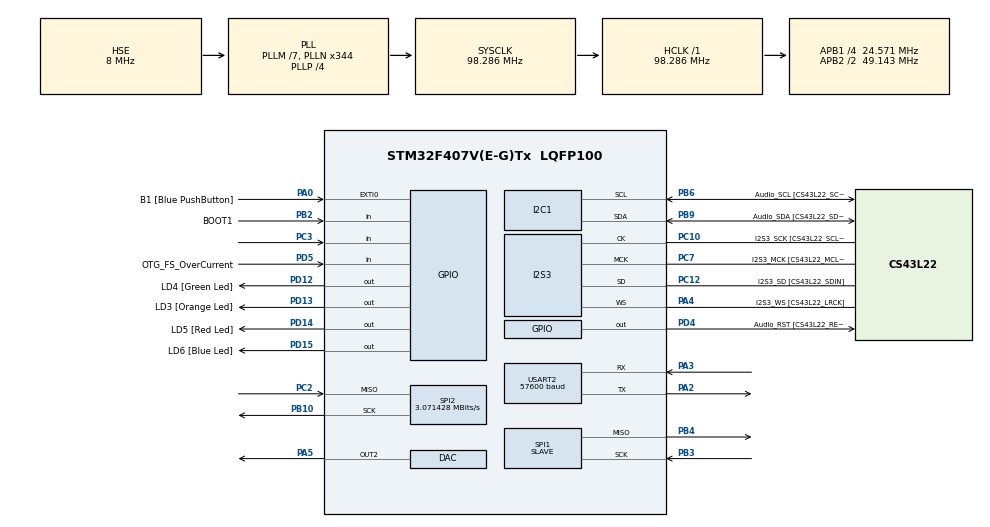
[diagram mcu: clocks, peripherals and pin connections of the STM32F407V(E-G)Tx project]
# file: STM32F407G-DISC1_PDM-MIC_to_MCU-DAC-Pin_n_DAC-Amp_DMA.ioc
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DAC.DAC_Trigger2=DAC_TRIGGER_T2_TRGO
Dma.DAC2.1.Direction=DMA_MEMORY_TO_PERIPH
Dma.DAC2.1.FIFOMode=DMA_FIFOMODE_DISABLE
Dma.DAC2.1.Instance=DMA1_Stream6
Dma.DAC2.1.MemDataAlignment=DMA_MDATAALIGN_HALFWORD
Dma.DAC2.1.MemInc=DMA_MINC_ENABLE
Dma.DAC2.1.Mode=DMA_CIRCULAR
Dma.DAC2.1.PeriphDataAlignment=DMA_PDATAALIGN_HALFWORD
Dma.DAC2.1.PeriphInc=DMA_PINC_DISABLE
Dma.DAC2.1.Priority=DMA_PRIORITY_MEDIUM
Dma.Request0=SPI3_TX
Dma.Request1=DAC2
Dma.Request2=SPI1_TX
Dma.Request3=SPI2_RX
Dma.SPI1_TX.2.Direction=DMA_MEMORY_TO_PERIPH
Dma.SPI1_TX.2.FIFOMode=DMA_FIFOMODE_DISABLE
Dma.SPI1_TX.2.Instance=DMA2_Stream3
Dma.SPI1_TX.2.MemDataAlignment=DMA_MDATAALIGN_BYTE
Dma.SPI1_TX.2.MemInc=DMA_MINC_ENABLE
Dma.SPI1_TX.2.Mode=DMA_CIRCULAR
Dma.SPI1_TX.2.PeriphDataAlignment=DMA_PDATAALIGN_BYTE
Dma.SPI1_TX.2.PeriphInc=DMA_PINC_DISABLE
Dma.SPI1_TX.2.Priority=DMA_PRIORITY_LOW
Dma.SPI2_RX.3.Direction=DMA_PERIPH_TO_MEMORY
Dma.SPI2_RX.3.FIFOMode=DMA_FIFOMODE_DISABLE
Dma.SPI2_RX.3.Instance=DMA1_Stream3
Dma.SPI2_RX.3.MemDataAlignment=DMA_MDATAALIGN_BYTE
Dma.SPI2_RX.3.MemInc=DMA_MINC_ENABLE
Dma.SPI2_RX.3.Mode=DMA_CIRCULAR
Dma.SPI2_RX.3.PeriphDataAlignment=DMA_PDATAALIGN_BYTE
Dma.SPI2_RX.3.PeriphInc=DMA_PINC_DISABLE
Dma.SPI2_RX.3.Priority=DMA_PRIORITY_MEDIUM
Dma.SPI3_TX.0.Direction=DMA_MEMORY_TO_PERIPH
Dma.SPI3_TX.0.FIFOMode=DMA_FIFOMODE_DISABLE
Dma.SPI3_TX.0.Instance=DMA1_Stream5
Dma.SPI3_TX.0.MemDataAlignment=DMA_MDATAALIGN_HALFWORD
Dma.SPI3_TX.0.MemInc=DMA_MINC_ENABLE
Dma.SPI3_TX.0.Mode=DMA_CIRCULAR
Dma.SPI3_TX.0.PeriphDataAlignment=DMA_PDATAALIGN_HALFWORD
Dma.SPI3_TX.0.PeriphInc=DMA_PINC_DISABLE
Dma.SPI3_TX.0.Priority=DMA_PRIORITY_LOW
I2S3.AudioFreq=I2S_AUDIOFREQ_48K
I2S3.AudioFreq-Half_Duplex_Master=I2S_AUDIOFREQ_96K
I2S3.ErrorAudioFreq=-0.01 %
I2S3.ErrorAudioFreq-Half_Duplex_Master=0.8 %
I2S3.FullDuplexMode=I2S_FULLDUPLEXMODE_DISABLE
I2S3.Instance=SPI$Index
I2S3.RealAudioFreq=47.991 KHz
I2S3.RealAudioFreq-Half_Duplex_Master=96.774 KHz
I2S3.VirtualMode=I2S_MODE_MASTER
Mcu.Family=STM32F4
Mcu.Name=STM32F407V(E-G)Tx
Mcu.Package=LQFP100
NVIC.DMA1_Stream3_IRQn=true\:0\:0\:false\:false\:true\:false\:true\:true
NVIC.DMA1_Stream5_IRQn=true\:0\:0\:false\:false\:true\:false\:true\:true
NVIC.DMA1_Stream6_IRQn=true\:0\:0\:false\:false\:true\:false\:true\:true
NVIC.DMA2_Stream3_IRQn=true\:0\:0\:false\:false\:true\:false\:true\:true
NVIC.PriorityGroup=NVIC_PRIORITYGROUP_0
PA0-WKUP.GPIO_Label=B1 [Blue PushButton]
PA0-WKUP.GPIO_ModeDefaultEXTI=GPIO_MODE_EVT_RISING
PA0-WKUP.GPIO_PuPd=GPIO_NOPULL
PA0-WKUP.Signal=GPXTI0
PA13.GPIO_Label=SWDIO
PA13.Signal=SYS_JTMS-SWDIO
PA14.GPIO_Label=SWCLK
PA14.Signal=SYS_JTCK-SWCLK
PA2.GPIO_Speed=GPIO_SPEED_FREQ_LOW
PA2.Mode=Asynchronous
PA2.Signal=USART2_TX
PA3.GPIO_Speed=GPIO_SPEED_FREQ_LOW
PA3.Mode=Asynchronous
PA3.Signal=USART2_RX
PA4.GPIO_Label=I2S3_WS [CS43L22_LRCK]
PA4.GPIO_Mode=GPIO_MODE_AF_PP
PA4.GPIO_PuPd=GPIO_NOPULL
PA4.GPIO_Speed=GPIO_SPEED_FREQ_LOW
PA4.Mode=Half_Duplex_Master
PA4.Signal=I2S3_WS
PA5.Signal=COMP_DAC2_group
PB10.GPIO_Speed=GPIO_SPEED_FREQ_LOW
PB10.Mode=RX_Only_Simplex_Unidirect_Master
PB10.Signal=SPI2_SCK
PB2.GPIO_Label=BOOT1
PB2.GPIO_Mode=GPIO_MODE_INPUT
PB2.GPIO_PuPd=GPIO_NOPULL
PB2.Signal=GPIO_Input
PB3.GPIO_Speed=GPIO_SPEED_FREQ_LOW
PB3.Mode=TX_Only_Simplex_Unidirect_Slave
PB3.Signal=SPI1_SCK
PB4.GPIO_Speed=GPIO_SPEED_FREQ_LOW
PB4.Mode=TX_Only_Simplex_Unidirect_Slave
PB4.Signal=SPI1_MISO
PB6.GPIO_Label=Audio_SCL [CS43L22_SCL]
PB6.GPIO_Mode=GPIO_MODE_AF_OD
PB6.GPIO_Pu=GPIO_PULLUP
PB6.GPIO_PuPd=GPIO_NOPULL
PB6.GPIO_Speed=GPIO_SPEED_FREQ_LOW
PB6.Mode=I2C
PB6.Signal=I2C1_SCL
PB9.GPIO_Label=Audio_SDA [CS43L22_SDA]
PB9.GPIO_Mode=GPIO_MODE_AF_OD
PB9.GPIO_Pu=GPIO_PULLUP
PB9.GPIO_PuPd=GPIO_NOPULL
PB9.GPIO_Speed=GPIO_SPEED_FREQ_LOW
PB9.Mode=I2C
PB9.Signal=I2C1_SDA
PC10.GPIO_Label=I2S3_SCK [CS43L22_SCLK]
PC10.GPIO_Mode=GPIO_MODE_AF_PP
PC10.GPIO_PuPd=GPIO_NOPULL
PC10.GPIO_Speed=GPIO_SPEED_FREQ_LOW
PC10.Mode=Half_Duplex_Master
PC10.Signal=I2S3_CK
PC12.GPIO_Label=I2S3_SD [CS43L22_SDIN]
PC12.GPIO_Mode=GPIO_MODE_AF_PP
PC12.GPIO_PuPd=GPIO_NOPULL
PC12.GPIO_Speed=GPIO_SPEED_FREQ_LOW
PC12.Mode=Half_Duplex_Master
PC12.Signal=I2S3_SD
PC14-OSC32_IN.GPIO_Label=PC14-OSC32_IN
PC14-OSC32_IN.Mode=LSE-External-Oscillator
PC14-OSC32_IN.Signal=RCC_OSC32_IN
PC15-OSC32_OUT.GPIO_Label=PC15-OSC32_OUT
PC15-OSC32_OUT.Mode=LSE-External-Oscillator
PC15-OSC32_OUT.Signal=RCC_OSC32_OUT
PC2.GPIO_Speed=GPIO_SPEED_FREQ_LOW
PC2.Mode=RX_Only_Simplex_Unidirect_Master
PC2.Signal=SPI2_MISO
PC3.Signal=GPIO_Input
PC7.GPIO_Label=I2S3_MCK [CS43L22_MCLK]
PC7.GPIO_Mode=GPIO_MODE_AF_PP
PC7.GPIO_PuPd=GPIO_NOPULL
PC7.GPIO_Speed=GPIO_SPEED_FREQ_LOW
PC7.Mode=Master_Clock_Activated
PC7.Signal=I2S3_MCK
PD12.GPIO_Label=LD4 [Green Led]
PD12.GPIO_PuPd=GPIO_NOPULL
PD12.GPIO_Speed=GPIO_SPEED_FREQ_LOW
PD12.Signal=GPIO_Output
PD13.GPIO_Label=LD3 [Orange Led]
PD13.GPIO_PuPd=GPIO_NOPULL
PD13.GPIO_Speed=GPIO_SPEED_FREQ_LOW
PD13.Signal=GPIO_Output
PD14.GPIO_Label=LD5 [Red Led]
PD14.GPIO_PuPd=GPIO_NOPULL
PD14.GPIO_Speed=GPIO_SPEED_FREQ_LOW
PD14.Signal=GPIO_Output
PD15.GPIO_Label=LD6 [Blue Led]
PD15.GPIO_PuPd=GPIO_NOPULL
PD15.GPIO_Speed=GPIO_SPEED_FREQ_LOW
PD15.Signal=GPIO_Output
PD4.GPIO_Label=Audio_RST [CS43L22_RESET]
PD4.GPIO_PuPd=GPIO_NOPULL
PD4.GPIO_Speed=GPIO_SPEED_FREQ_LOW
PD4.Signal=GPIO_Output
PD5.GPIO_Label=OTG_FS_OverCurrent
PD5.GPIO_Mode=GPIO_MODE_INPUT
PD5.GPIO_PuPd=GPIO_NOPULL
PD5.Signal=GPIO_Input
PDM2PCM.CHANNEL1_in_ptr_channels=1
PDM2PCM.CHANNEL1_out_ptr_channels=1
PDM2PCM.CHANNEL1_output_samples_number=1
PH0-OSC_IN.GPIO_Label=PH0-OSC_IN
PH0-OSC_IN.Mode=HSE-External-Oscillator
PH0-OSC_IN.Signal=RCC_OSC_IN
PH1-OSC_OUT.GPIO_Label=PH1-OSC_OUT
PH1-OSC_OUT.Mode=HSE-External-Oscillator
PH1-OSC_OUT.Signal=RCC_OSC_OUT
ProjectManager.HeapSize=0x200
ProjectManager.StackSize=0x400
ProjectManager.TargetToolchain=STM32CubeIDE
RCC.48MHZClocksFreq_Value=56163265.30612246
RCC.AHBFreq_Value=98285714.2857143
RCC.APB1CLKDivider=RCC_HCLK_DIV4
RCC.APB1Freq_Value=24571428.571428575
RCC.APB1TimFreq_Value=49142857.14285715
RCC.APB2CLKDivider=RCC_HCLK_DIV2
RCC.APB2Freq_Value=49142857.14285715
RCC.APB2TimFreq_Value=98285714.2857143
RCC.CortexFreq_Value=98285714.2857143
RCC.HCLKFreq_Value=98285714.2857143
RCC.HSE_VALUE=8000000
RCC.HSI_VALUE=16000000
RCC.PLLI2SN=344
RCC.PLLI2SR=4
RCC.PLLM=7
RCC.PLLN=344
RCC.PLLP=RCC_PLLP_DIV4
RCC.PLLQ=7
RCC.PLLSourceVirtual=RCC_PLLSOURCE_HSE
RCC.SYSCLKFreq_VALUE=98285714.2857143
RCC.SYSCLKSource=RCC_SYSCLKSOURCE_PLLCLK
RCC.VCOOutputFreq_Value=393142857.1428572
SH.COMP_DAC2_group.0=DAC_OUT2,DAC_OUT2
SPI1.Direction=SPI_DIRECTION_2LINES
SPI1.Mode=SPI_MODE_SLAVE
SPI1.VirtualType=VM_SLAVE
SPI2.BaudRatePrescaler=SPI_BAUDRATEPRESCALER_8
SPI2.CalculateBaudRate=3.071428 MBits/s
SPI2.Direction=SPI_DIRECTION_2LINES_RXONLY
SPI2.Mode=SPI_MODE_MASTER
SPI2.VirtualType=VM_MASTER
TIM2.AutoReloadPreload=TIM_AUTORELOAD_PRELOAD_ENABLE
TIM2.Period=64-1
TIM2.Prescaler=16-1
TIM2.TIM_MasterOutputTrigger=TIM_TRGO_UPDATE
USART2.BaudRate=57600
USART2.VirtualMode=VM_ASYNC
VP_CRC_VS_CRC.Mode=CRC_Activate
VP_PDM2PCM_VS_PDM2PCM.Mode=PDM2PCM_Channel
VP_TIM2_VS_ClockSourceINT.Mode=Internal
board=STM32F407G-DISC1

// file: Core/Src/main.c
/* USER CODE BEGIN Header */
/**
 ******************************************************************************
 * @file           : main.c
 * @brief          : Main program body
 ******************************************************************************
 * @attention
 *
 * Copyright (c) 2021 STMicroelectronics.
 * All rights reserved.
 *
 * This software is licensed under terms that can be found in the LICENSE file
 * in the root directory of this software component.
 * If no LICENSE file comes with this software, it is provided AS-IS.
 *
 ******************************************************************************
 */
/* USER CODE END Header */
#include "main.h"
#include "pdm2pcm.h"

/* USER CODE BEGIN Includes */

#include <stdio.h>
#include "MY_CS43L22.h"
#include <math.h>
#include "pdm_tones.h"

/* USER CODE END Includes */

 CRC_HandleTypeDef hcrc;

DAC_HandleTypeDef hdac;
DMA_HandleTypeDef hdma_dac2;

I2C_HandleTypeDef hi2c1;

I2S_HandleTypeDef hi2s3;
DMA_HandleTypeDef hdma_spi3_tx;

SPI_HandleTypeDef hspi1;
SPI_HandleTypeDef hspi2;
DMA_HandleTypeDef hdma_spi1_tx;
DMA_HandleTypeDef hdma_spi2_rx;

TIM_HandleTypeDef htim2;

UART_HandleTypeDef huart2;

/* USER CODE BEGIN PV */

uint8_t SPI_PDM_rx_data[80], SPI_PDM_rx_data_400[400], SPI_PDM_rx_data_2k[2000], SPI_PDM_rx_data_4k[4000], SPI_PDM_tx_data_4k[4000];

int16_t PCM_outBuffer[500], PCM_DAC_AMP_outBuffer[10];
uint16_t PCM_DAC_outBuffer[500];

#define PI 3.14159f

//Sample rate and Output freq
#define F_SAMPLE		48000.0f
#define F_OUT			2000.0f

float mySinVal;
float sample_dt;
uint16_t sample_N;
uint16_t i_t;

uint32_t myDacVal;

int16_t dataI2S[100];

/* USER CODE END PV */

void SystemClock_Config(void);
static void MX_GPIO_Init(void);
static void MX_I2C1_Init(void);
static void MX_DMA_Init(void);
static void MX_I2S3_Init(void);
static void MX_USART2_UART_Init(void);
static void MX_DAC_Init(void);
static void MX_SPI1_Init(void);
static void MX_TIM2_Init(void);
static void MX_SPI2_Init(void);
static void MX_CRC_Init(void);
/* USER CODE BEGIN PFP */

#define PUTCHAR_PROTOTYPE int __io_putchar(int ch)

/* USER CODE END PFP */

/* USER CODE BEGIN 0 */

//float mySinVal;
//float sample_dt;
//uint16_t sample_N;
//uint16_t i_t;
//
//uint32_t myDacVal;
//
//int16_t dataI2S[100];
/* USER CODE END 0 */

int main(void)
{
  /* USER CODE BEGIN 1 */

	sample_dt = F_OUT/F_SAMPLE;
	sample_N = F_SAMPLE/F_OUT;

  /* USER CODE END 1 */

  /* MCU Configuration--------------------------------------------------------*/

  /* Reset of all peripherals, Initializes the Flash interface and the Systick. */
  HAL_Init();

  /* Configure the system clock */
  SystemClock_Config();

  /* Initialize all configured peripherals */
  MX_GPIO_Init();
  MX_I2C1_Init();
  MX_DMA_Init();
  MX_I2S3_Init();
  MX_USART2_UART_Init();
  MX_DAC_Init();
  MX_SPI1_Init();
  MX_TIM2_Init();
  MX_SPI2_Init();
  MX_CRC_Init();
  MX_PDM2PCM_Init();
  /* USER CODE BEGIN 2 */

	printf("Starting >> STM32F407G-DISC1_I2S_CS43L22_48k_SPI-Continous-PDM-data_to_MCU-DAC-Pin_DAC-Amp_DMA \n");

	CS43_Init(hi2c1, MODE_I2S);
	CS43_SetVolume(100); //0 - 100,, 40
	CS43_Enable_RightLeft(CS43_RIGHT_LEFT);
	CS43_Start();

	//Build Sine wave
	printf("Sine wave using (int) ((mySinVal) * 8000) & sample_N = 48kHz sampling rate\n");
	for(uint16_t i = 0; i < sample_N ; i++)
	{
		mySinVal = sinf(i*2*PI*sample_dt);
		dataI2S[i*2] = (mySinVal) * 8000;    //Right data (0 2 4 6 8 10 12 ... )
		dataI2S[i*2 + 1] = (mySinVal) * 8000; //Left data  (1 3 5 7 9 11 13 ... )
		printf("%d %d\n", i, (int)((mySinVal) * 8000) );
	}

//	HAL_I2S_Transmit_DMA(&hi2s3, (uint16_t *)dataI2S, sample_N*2);

	// first bit to MSB - 8bit tone "AA"
	for (uint16_t i = 0; i < sizeof(tone500HzA4_pdmdata) * 4; i++) {
		pdmBuffer8_8000bits_1000bytes_1[i >> 3] = 0xAA;
		//		printf("i = %d,  i >>3 = %d, i mod sizeof(tone500HzA4_pdmdata) = %d \n",i, i >>3, i % sizeof(tone500HzA4_pdmdata));
	}

	// first bit to MSB - 8bit tone500Hz_pdmdata
	for (uint16_t i = 0; i < sizeof(tone500Hz_pdmdata) * 4; i++) {
		pdmBuffer8_8000bits_1000bytes_2[i >> 3] = (pdmBuffer8_8000bits_1000bytes_2[i >> 3] << 1) + tone500Hz_pdmdata[i % sizeof(tone500Hz_pdmdata)];
		//		printf("i = %d,  i >>3 = %d, i mod sizeof(tone500Hz_pdmdata) = %d \n",i, i >>3, i % sizeof(tone500Hz_pdmdata));
	}

	// first bit to MSB - 8bit tone500HzA4_pdmdata
	for (uint16_t i = 0; i < sizeof(tone500HzA4_pdmdata) * 4; i++) {
		pdmBuffer8_8000bits_1000bytes_3[i >> 3] = (pdmBuffer8_8000bits_1000bytes_3[i >> 3] << 1) + tone500HzA4_pdmdata[i % sizeof(tone500HzA4_pdmdata)];
		//		printf("i = %d,  i >>3 = %d, i mod sizeof(tone500HzA4_pdmdata) = %d \n",i, i >>3, i % sizeof(tone500HzA4_pdmdata));
	}

	for (uint16_t i = 0; i < 1000; i++) {
		pdmBuffer8_8000bits_4000bytes[i] = pdmBuffer8_8000bits_1000bytes_1[i]; // 0xAA data
	}

	for (uint16_t i = 0; i < 1000; i++) {
		pdmBuffer8_8000bits_4000bytes[i + 1000] = pdmBuffer8_8000bits_1000bytes_2[i]; // tone500Hz_pdmdata
	}

	for (uint16_t i = 0; i < 1000; i++) {
		pdmBuffer8_8000bits_4000bytes[i + 2000] = pdmBuffer8_8000bits_1000bytes_1[i]; // 0xAA data
	}

	for (uint16_t i = 0; i < 1000; i++) {
		pdmBuffer8_8000bits_4000bytes[i + 3000] = pdmBuffer8_8000bits_1000bytes_3[i]; // tone500HzA4_pdmdata
	}

	for (uint16_t i = 0; i < 4000; i++) {
		SPI_PDM_rx_data_4k[i] = pdmBuffer8_8000bits_4000bytes[i]; // tone500HzA4_pdmdata
	}

	HAL_DAC_Start_DMA(&hdac, DAC_CHANNEL_2, (uint32_t*) PCM_DAC_outBuffer, 1, DAC_ALIGN_12B_R); // 4000bytes x 8bit/bytes = 32,000 bit / 64 decimate = 500 int of data

	HAL_SPI_Transmit_DMA(&hspi1, SPI_PDM_rx_data_4k, 4000);

	HAL_SPI_Receive_DMA(&hspi2, SPI_PDM_rx_data, 8);

	HAL_I2S_Transmit_DMA(&hi2s3, (uint16_t *) PCM_DAC_AMP_outBuffer, 2);

	HAL_TIM_Base_Start(&htim2); //Start the timer

	printf("Ending   >> STM32F407G-DISC1_I2S_CS43L22_48k_SPI-Continous-PDM-data_to_MCU-DAC-Pin_DAC-Amp_DMA \n");

  /* USER CODE END 2 */

  /* Infinite loop */
	while (1) {

	}
}

void SystemClock_Config(void)
{
  RCC_OscInitTypeDef RCC_OscInitStruct = {0};
  RCC_ClkInitTypeDef RCC_ClkInitStruct = {0};

  /** Configure the main internal regulator output voltage
  */
  __HAL_RCC_PWR_CLK_ENABLE();
  __HAL_PWR_VOLTAGESCALING_CONFIG(PWR_REGULATOR_VOLTAGE_SCALE1);

  /** Initializes the RCC Oscillators according to the specified parameters
  * in the RCC_OscInitTypeDef structure.
  */
  RCC_OscInitStruct.OscillatorType = RCC_OSCILLATORTYPE_HSE;
  RCC_OscInitStruct.HSEState = RCC_HSE_ON;
  RCC_OscInitStruct.PLL.PLLState = RCC_PLL_ON;
  RCC_OscInitStruct.PLL.PLLSource = RCC_PLLSOURCE_HSE;
  RCC_OscInitStruct.PLL.PLLM = 7;
  RCC_OscInitStruct.PLL.PLLN = 344;
  RCC_OscInitStruct.PLL.PLLP = RCC_PLLP_DIV4;
  RCC_OscInitStruct.PLL.PLLQ = 7;
  if (HAL_RCC_OscConfig(&RCC_OscInitStruct) != HAL_OK)
  {
    Error_Handler();
  }

  /** Initializes the CPU, AHB and APB buses clocks
  */
  RCC_ClkInitStruct.ClockType = RCC_CLOCKTYPE_HCLK|RCC_CLOCKTYPE_SYSCLK
                              |RCC_CLOCKTYPE_PCLK1|RCC_CLOCKTYPE_PCLK2;
  RCC_ClkInitStruct.SYSCLKSource = RCC_SYSCLKSOURCE_PLLCLK;
  RCC_ClkInitStruct.AHBCLKDivider = RCC_SYSCLK_DIV1;
  RCC_ClkInitStruct.APB1CLKDivider = RCC_HCLK_DIV4;
  RCC_ClkInitStruct.APB2CLKDivider = RCC_HCLK_DIV2;

  if (HAL_RCC_ClockConfig(&RCC_ClkInitStruct, FLASH_LATENCY_3) != HAL_OK)
  {
    Error_Handler();
  }
}

static void MX_CRC_Init(void)
{

  hcrc.Instance = CRC;
  if (HAL_CRC_Init(&hcrc) != HAL_OK)
  {
    Error_Handler();
  }
  __HAL_CRC_DR_RESET(&hcrc);

}

static void MX_DAC_Init(void)
{

  DAC_ChannelConfTypeDef sConfig = {0};

  /** DAC Initialization
  */
  hdac.Instance = DAC;
  if (HAL_DAC_Init(&hdac) != HAL_OK)
  {
    Error_Handler();
  }

  /** DAC channel OUT2 config
  */
  sConfig.DAC_Trigger = DAC_TRIGGER_T2_TRGO;
  sConfig.DAC_OutputBuffer = DAC_OUTPUTBUFFER_ENABLE;
  if (HAL_DAC_ConfigChannel(&hdac, &sConfig, DAC_CHANNEL_2) != HAL_OK)
  {
    Error_Handler();
  }

}

static void MX_I2C1_Init(void)
{

  hi2c1.Instance = I2C1;
  hi2c1.Init.ClockSpeed = 100000;
  hi2c1.Init.DutyCycle = I2C_DUTYCYCLE_2;
  hi2c1.Init.OwnAddress1 = 0;
  hi2c1.Init.AddressingMode = I2C_ADDRESSINGMODE_7BIT;
  hi2c1.Init.DualAddressMode = I2C_DUALADDRESS_DISABLE;
  hi2c1.Init.OwnAddress2 = 0;
  hi2c1.Init.GeneralCallMode = I2C_GENERALCALL_DISABLE;
  hi2c1.Init.NoStretchMode = I2C_NOSTRETCH_DISABLE;
  if (HAL_I2C_Init(&hi2c1) != HAL_OK)
  {
    Error_Handler();
  }

}

static void MX_I2S3_Init(void)
{

  hi2s3.Instance = SPI3;
  hi2s3.Init.Mode = I2S_MODE_MASTER_TX;
  hi2s3.Init.Standard = I2S_STANDARD_PHILIPS;
  hi2s3.Init.DataFormat = I2S_DATAFORMAT_16B;
  hi2s3.Init.MCLKOutput = I2S_MCLKOUTPUT_ENABLE;
  hi2s3.Init.AudioFreq = I2S_AUDIOFREQ_48K;
  hi2s3.Init.CPOL = I2S_CPOL_LOW;
  hi2s3.Init.ClockSource = I2S_CLOCK_PLL;
  hi2s3.Init.FullDuplexMode = I2S_FULLDUPLEXMODE_DISABLE;
  if (HAL_I2S_Init(&hi2s3) != HAL_OK)
  {
    Error_Handler();
  }

}

static void MX_SPI1_Init(void)
{

  /* SPI1 parameter configuration*/
  hspi1.Instance = SPI1;
  hspi1.Init.Mode = SPI_MODE_SLAVE;
  hspi1.Init.Direction = SPI_DIRECTION_2LINES;
  hspi1.Init.DataSize = SPI_DATASIZE_8BIT;
  hspi1.Init.CLKPolarity = SPI_POLARITY_LOW;
  hspi1.Init.CLKPhase = SPI_PHASE_1EDGE;
  hspi1.Init.NSS = SPI_NSS_SOFT;
  hspi1.Init.FirstBit = SPI_FIRSTBIT_MSB;
  hspi1.Init.TIMode = SPI_TIMODE_DISABLE;
  hspi1.Init.CRCCalculation = SPI_CRCCALCULATION_DISABLE;
  hspi1.Init.CRCPolynomial = 10;
  if (HAL_SPI_Init(&hspi1) != HAL_OK)
  {
    Error_Handler();
  }

}

static void MX_SPI2_Init(void)
{

  /* SPI2 parameter configuration*/
  hspi2.Instance = SPI2;
  hspi2.Init.Mode = SPI_MODE_MASTER;
  hspi2.Init.Direction = SPI_DIRECTION_2LINES_RXONLY;
  hspi2.Init.DataSize = SPI_DATASIZE_8BIT;
  hspi2.Init.CLKPolarity = SPI_POLARITY_LOW;
  hspi2.Init.CLKPhase = SPI_PHASE_1EDGE;
  hspi2.Init.NSS = SPI_NSS_SOFT;
  hspi2.Init.BaudRatePrescaler = SPI_BAUDRATEPRESCALER_8;
  hspi2.Init.FirstBit = SPI_FIRSTBIT_MSB;
  hspi2.Init.TIMode = SPI_TIMODE_DISABLE;
  hspi2.Init.CRCCalculation = SPI_CRCCALCULATION_DISABLE;
  hspi2.Init.CRCPolynomial = 10;
  if (HAL_SPI_Init(&hspi2) != HAL_OK)
  {
    Error_Handler();
  }

}

static void MX_TIM2_Init(void)
{

  TIM_ClockConfigTypeDef sClockSourceConfig = {0};
  TIM_MasterConfigTypeDef sMasterConfig = {0};

  htim2.Instance = TIM2;
  htim2.Init.Prescaler = 16-1;
  htim2.Init.CounterMode = TIM_COUNTERMODE_UP;
  htim2.Init.Period = 64-1;
  htim2.Init.ClockDivision = TIM_CLOCKDIVISION_DIV1;
  htim2.Init.AutoReloadPreload = TIM_AUTORELOAD_PRELOAD_ENABLE;
  if (HAL_TIM_Base_Init(&htim2) != HAL_OK)
  {
    Error_Handler();
  }
  sClockSourceConfig.ClockSource = TIM_CLOCKSOURCE_INTERNAL;
  if (HAL_TIM_ConfigClockSource(&htim2, &sClockSourceConfig) != HAL_OK)
  {
    Error_Handler();
  }
  sMasterConfig.MasterOutputTrigger = TIM_TRGO_UPDATE;
  sMasterConfig.MasterSlaveMode = TIM_MASTERSLAVEMODE_DISABLE;
  if (HAL_TIMEx_MasterConfigSynchronization(&htim2, &sMasterConfig) != HAL_OK)
  {
    Error_Handler();
  }

}

static void MX_USART2_UART_Init(void)
{

  huart2.Instance = USART2;
  huart2.Init.BaudRate = 57600;
  huart2.Init.WordLength = UART_WORDLENGTH_8B;
  huart2.Init.StopBits = UART_STOPBITS_1;
  huart2.Init.Parity = UART_PARITY_NONE;
  huart2.Init.Mode = UART_MODE_TX_RX;
  huart2.Init.HwFlowCtl = UART_HWCONTROL_NONE;
  huart2.Init.OverSampling = UART_OVERSAMPLING_16;
  if (HAL_UART_Init(&huart2) != HAL_OK)
  {
    Error_Handler();
  }

}

static void MX_DMA_Init(void)
{

  /* DMA controller clock enable */
  __HAL_RCC_DMA1_CLK_ENABLE();
  __HAL_RCC_DMA2_CLK_ENABLE();

  /* DMA interrupt init */
  /* DMA1_Stream3_IRQn interrupt configuration */
  HAL_NVIC_SetPriority(DMA1_Stream3_IRQn, 0, 0);
  HAL_NVIC_EnableIRQ(DMA1_Stream3_IRQn);
  /* DMA1_Stream5_IRQn interrupt configuration */
  HAL_NVIC_SetPriority(DMA1_Stream5_IRQn, 0, 0);
  HAL_NVIC_EnableIRQ(DMA1_Stream5_IRQn);
  /* DMA1_Stream6_IRQn interrupt configuration */
  HAL_NVIC_SetPriority(DMA1_Stream6_IRQn, 0, 0);
  HAL_NVIC_EnableIRQ(DMA1_Stream6_IRQn);
  /* DMA2_Stream3_IRQn interrupt configuration */
  HAL_NVIC_SetPriority(DMA2_Stream3_IRQn, 0, 0);
  HAL_NVIC_EnableIRQ(DMA2_Stream3_IRQn);

}

static void MX_GPIO_Init(void)
{
  GPIO_InitTypeDef GPIO_InitStruct = {0};

  /* GPIO Ports Clock Enable */
  __HAL_RCC_GPIOC_CLK_ENABLE();
  __HAL_RCC_GPIOH_CLK_ENABLE();
  __HAL_RCC_GPIOA_CLK_ENABLE();
  __HAL_RCC_GPIOB_CLK_ENABLE();
  __HAL_RCC_GPIOD_CLK_ENABLE();

  /*Configure GPIO pin Output Level */
  HAL_GPIO_WritePin(GPIOD, LD4_Pin|LD3_Pin|LD5_Pin|LD6_Pin
                          |Audio_RST_Pin, GPIO_PIN_RESET);

  /*Configure GPIO pin : PC3 */
  GPIO_InitStruct.Pin = GPIO_PIN_3;
  GPIO_InitStruct.Mode = GPIO_MODE_INPUT;
  GPIO_InitStruct.Pull = GPIO_NOPULL;
  HAL_GPIO_Init(GPIOC, &GPIO_InitStruct);

  /*Configure GPIO pin : B1_Pin */
  GPIO_InitStruct.Pin = B1_Pin;
  GPIO_InitStruct.Mode = GPIO_MODE_EVT_RISING;
  GPIO_InitStruct.Pull = GPIO_NOPULL;
  HAL_GPIO_Init(B1_GPIO_Port, &GPIO_InitStruct);

  /*Configure GPIO pin : BOOT1_Pin */
  GPIO_InitStruct.Pin = BOOT1_Pin;
  GPIO_InitStruct.Mode = GPIO_MODE_INPUT;
  GPIO_InitStruct.Pull = GPIO_NOPULL;
  HAL_GPIO_Init(BOOT1_GPIO_Port, &GPIO_InitStruct);

  /*Configure GPIO pins : LD4_Pin LD3_Pin LD5_Pin LD6_Pin
                           Audio_RST_Pin */
  GPIO_InitStruct.Pin = LD4_Pin|LD3_Pin|LD5_Pin|LD6_Pin
                          |Audio_RST_Pin;
  GPIO_InitStruct.Mode = GPIO_MODE_OUTPUT_PP;
  GPIO_InitStruct.Pull = GPIO_NOPULL;
  GPIO_InitStruct.Speed = GPIO_SPEED_FREQ_LOW;
  HAL_GPIO_Init(GPIOD, &GPIO_InitStruct);

  /*Configure GPIO pin : OTG_FS_OverCurrent_Pin */
  GPIO_InitStruct.Pin = OTG_FS_OverCurrent_Pin;
  GPIO_InitStruct.Mode = GPIO_MODE_INPUT;
  GPIO_InitStruct.Pull = GPIO_NOPULL;
  HAL_GPIO_Init(OTG_FS_OverCurrent_GPIO_Port, &GPIO_InitStruct);

}

/* USER CODE BEGIN 4 */

PUTCHAR_PROTOTYPE {
	/* Place your implementation of fputc here */
	/* e.g. write a character to the LPUART1 and Loop until the end of transmission */
	HAL_UART_Transmit(&huart2, (uint8_t*) &ch, 1, 0xFFFF);

	return ch;
}

void HAL_SPI_RxHalfCpltCallback(SPI_HandleTypeDef *hspi)
{
  /* Prevent unused argument(s) compilation warning */
  UNUSED(hspi);

  /* NOTE : This function should not be modified, when the callback is needed,
            the HAL_SPI_RxHalfCpltCallback() should be implemented in the user file
   */

  	  GPIOD->BSRR = (1 << 14); // Set
  	  // 2000bytes x 8bit/bytes = 16,000 bit / 64 decimate = 250 int of data
//  	  PDM_Filter(&SPI_PDM_rx_data[0], &PCM_outBuffer[0], &PDM1_filter_handler);
//
//  	  PCM_DAC_outBuffer[0] = (PCM_outBuffer[0] >> 4) + 2048; // convert to 12bit DC offset of DAC data

  	  GPIOD->BSRR = (1 << (14 + 16)); // Reset

}

/**
  * @brief  Rx Transfer completed callback.
  * @param  hspi pointer to a SPI_HandleTypeDef structure that contains
  *               the configuration information for SPI module.
  * @retval None
  */
void HAL_SPI_RxCpltCallback(SPI_HandleTypeDef *hspi)
{
  /* Prevent unused argument(s) compilation warning */
  UNUSED(hspi);

  /* NOTE : This function should not be modified, when the callback is needed,
            the HAL_SPI_RxCpltCallback should be implemented in the user file
   */

  	  GPIOD->BSRR = (1 << 15); // Set
  	  // 2000bytes x 8bit/bytes = 16,000 bit / 64 decimate = 250 int of data
  	  PDM_Filter(&SPI_PDM_rx_data[0], &PCM_outBuffer[0], &PDM1_filter_handler); // 2000bytes x 8bit/bytes = 16,000 bit / 64 decimate = 250 int of data

  	  PCM_DAC_outBuffer[0] = (PCM_outBuffer[0] >> 4) + 2048; // convert to 12bit DC offset of DAC data
  	  PCM_DAC_AMP_outBuffer[0] = PCM_outBuffer[0];
  	  PCM_DAC_AMP_outBuffer[1] = PCM_outBuffer[0];

  	  GPIOD->BSRR = (1 << (15 + 16)); // Reset

}

/* USER CODE END 4 */

void Error_Handler(void)
{
	__disable_irq();
	while (1) {
	}
}
